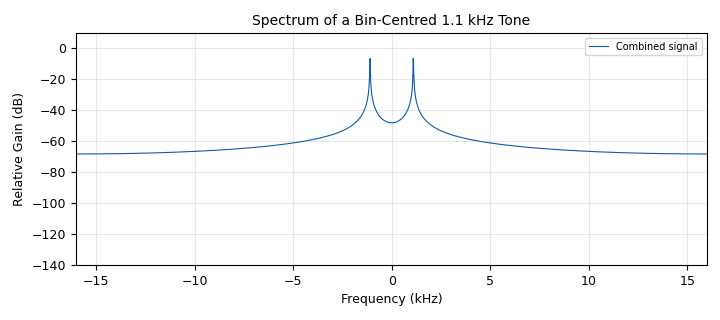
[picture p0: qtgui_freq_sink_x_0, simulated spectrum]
options:
  parameters:
    author: Dhrubjun
    generate_options: qt_gui
    id: exp3
    output_language: python
    title: Spectral Leakage
  states: {}

blocks:
- name: samp_rate
  id: variable
  parameters:
    value: '32000'
  states: {}
- name: analog_sig_source_x_0
  id: analog_sig_source_x
  parameters:
    amp: '1'
    freq: '1100'
    offset: '0'
    phase: '0'
    samp_rate: samp_rate
    type: float
    waveform: analog.GR_COS_WAVE
  states: {}
- name: blocks_throttle2_0
  id: blocks_throttle2
  parameters:
    samples_per_second: samp_rate
    type: float
  states: {}
- name: qtgui_freq_sink_x_0
  id: qtgui_freq_sink_x
  parameters:
    bw: samp_rate
    color1: '"red"'
    fc: '0'
    fftsize: '1024'
    grid: 'True'
    label1: Combined signal
    name: Spectrum of a Bin-Centred 1.1 kHz Tone
    type: float
    wintype: window.WIN_RECTANGULAR
  states: {}

connections:
- [analog_sig_source_x_0, '0', blocks_throttle2_0, '0']
- [blocks_throttle2_0, '0', qtgui_freq_sink_x_0, '0']

metadata:
  file_format: 1
  grc_version: 3.10.12.0
